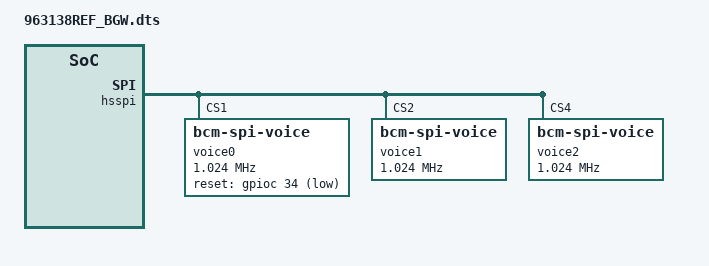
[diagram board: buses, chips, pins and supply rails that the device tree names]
#include "63138.dtsi"
#include "../bcm_voice.dtsi"

/ {
	memory_controller {
		memcfg = <(BP_DDR_SPEED_800_11_11_11   | \
			BP_DDR_TOTAL_SIZE_512MB  | \
			BP_DDR_DEVICE_WIDTH_16)>;
	};

	buttons {
		compatible = "brcm,buttons";
		reset_button {
			ext_irq = <&bca_extintr 32 BCA_GPIO_ACTIVE_LOW (BCA_EXTINTR_TYPE_LOW_LEVEL | BCA_EXTINTR_TYPE_SENSE_LEVEL)>;
			press {
				print = "Button Press -- Hold for 5s to do restore to default";
			};
			hold {
				rst_to_dflt = <5>;
			};
			release {
				reset = <0>;
			};	
		};
		ses_button {
			ext_irq = <&bca_extintr 33 BCA_GPIO_ACTIVE_LOW (BCA_EXTINTR_TYPE_LOW_LEVEL | BCA_EXTINTR_TYPE_SENSE_LEVEL)>;
			release {
				ses_short_period = <0>;
				ses_long_period = <3>;
			};
		};
	};    
};

&bcm_voice{
	sliclist = SLICSLAC_LIST_COMMON_NOFXO;
 };

&hsspi {
	status = "okay";
	voice0 {
		pinctrl-0 = <&a_spim_ss1_b_pin_127>;
		pinctrl-names = "default";
		compatible = "bcm-spi-voice";
		reg = <1>; /* chip select 1 */
		spi-max-frequency = <1024000>;
		reset-gpio = <&gpioc 34 GPIO_ACTIVE_LOW>;
		spi-index = <0>;/* voice header index */
	};
	voice1 {
		pinctrl-0 = <&spim_ss2_b_2_pin_25>;
		pinctrl-names = "default";
		compatible = "bcm-spi-voice";
		reg = <2>; /* chip select 2 */
		spi-max-frequency = <1024000>;
		/*reset-gpio = NA;*/
		spi-index = <1>;/* voice header index */
	};
	voice2 {
		pinctrl-0 = <&spim_ss4_b_pin_8>;
		pinctrl-names = "default";
		compatible = "bcm-spi-voice";
		reg = <4>; /* chip select 3 */
		spi-max-frequency = <1024000>;
		/*reset-gpio = NA;*/
		spi-index = <2>;/* voice header index */
	};
};

&vreg_sync {
		pinctrl-0 = <&vreg_clk_pin_18>;
		pinctrl-names = "default";
};

&mdio_sf2 {
	/* PHYs directly connected to SF2 */
	gphy8:8 {
		status = "okay";
	};
	gphy9:9 {
		status = "okay";
	};
	gphya:a {
		status = "okay";
	};

	/* PHYs connected to crossbar */
	gphyb:b {
		status = "okay";
	};
	gphyc:c {
		status = "okay";
	};

	/* Crossbar groups */
	xbar_grp0:0 {
		phy-handle = <&gphyb>;
		status = "okay";
	};
	xbar_grp2:2 {
		phy-handle = <&gphyc>;
		status = "okay";
	};
};

&switch_sf2 {
	ports {
		/* ports connect directly */
		sf2_port0@0 {
			phy-handle = <&gphy8>;
			network-leds = <&led0 &led1 &led28>;
			status = "okay";
		};

		sf2_port1@1 {
			phy-handle = <&gphy9>;
			network-leds = <&led2 &led3 &led11>;
			status = "okay";
		};

		sf2_port2@2 {
			phy-handle = <&gphya>;
			network-leds = <&led4 &led5 &led12>;
			status = "okay";
		};

		/* ports connected to crossbar */
		sf2_port3@3 {
			phy-handle = <&xbar_grp0>;
			network-leds = <&led6 &led7 &led13>;
			status = "okay";
		};
	};
};

&switch0 {
	ports {
		
		port0@0 {
			phy-handle = <&xbar_grp2>;
			phy-mode = "gmii";
			network-leds = <&led20 &led21 &led22>;
			status = "okay";
		};
	};
};

&legacy_leds {
	adsl-led = <&led17>;
	adsl-fail-led = <&led16>;
	sec-adsl-led = <&led27>;
	wan-data-led = <&led15>;
	wl-sess-led = <&led24>;
	voip1-ok-led = <&led29>;
	voip2-ok-led = <&led30>;
};

&led_ctrl {
    led0: port_0-led_0-pin_0 {
        active_low;
        link = <(LED_SPEED_1G)>;
        status = "okay";
    };
    led1: port_0-led_1-pin_1 {
        active_low;
        link = <(LED_SPEED_100)>;
        status = "okay";
    };
    led2: port_1-led_0-pin_2 {
        active_low;
        link = <(LED_SPEED_1G)>;
        status = "okay";
    };
    led3: port_1-led_1-pin_3 {
        active_low;
        link = <(LED_SPEED_100)>;
        status = "okay";
    };
    led4: port_2-led_0-pin_4 {
        active_low;
        link = <(LED_SPEED_1G)>;
        status = "okay";
    };
    led5: port_2-led_1-pin_5 {
        active_low;
        link = <(LED_SPEED_100)>;
        status = "okay";
    };
    led6: port_3-led_0-pin_6 {
        active_low;
        link = <(LED_SPEED_1G)>;
        status = "okay";
    };
    led7: port_3-led_1-pin_7 {
        active_low;
        link = <(LED_SPEED_100)>;
        status = "okay";
    };
    led11: port_1-led_2-pin_11 {
        active_low;
        activity = <(LED_SPEED_100|LED_SPEED_1G)>;
        link = <(LED_SPEED_100|LED_SPEED_1G)>;
        status = "okay";
    };
    led12: port_2-led_2-pin_12 {
        active_low;
        activity = <(LED_SPEED_100|LED_SPEED_1G)>;
        link = <(LED_SPEED_100|LED_SPEED_1G)>;
        status = "okay";
    };
    led13: port_3-led_2-pin_13 {
        active_low;
        activity = <(LED_SPEED_100|LED_SPEED_1G)>;
        link = <(LED_SPEED_100|LED_SPEED_1G)>;
        status = "okay";
    };
    led15: wan_0-data-pin_15 {
        active_low;
        status = "okay";
    };
    led16: sw_led_16-pin_16 {
        active_low;
        status = "okay";
    };
    led17: sw_led_17-pin_17 {
        active_low;
        status = "okay";
    };
    led20: rnr_port_0-led_0-pin_20 {
        active_low;
        link = <(LED_SPEED_1G)>;
        status = "okay";
    };
    led21: rnr_port_0-led_1-pin_21 {
        active_low;
        link = <(LED_SPEED_100)>;
        status = "okay";
    };
    led22: rnr_port_0-led_2-pin_22 {
        active_low;
        link = <(LED_SPEED_100|LED_SPEED_1G)>;
        activity = <(LED_SPEED_100|LED_SPEED_1G)>;
        status = "okay";
    };
    led24: sw_led_24-pin_24 {
        active_low;
        status = "okay";
    };
    led26: sw_led_26-pin_26 {
        active_low;
        status = "okay";
    };
    led27: sw_led_27-pin_27 {
        active_low;
        status = "okay";
    };
    led28: port_0-led_2-pin_28 {
        active_low;
        activity = <(LED_SPEED_100|LED_SPEED_1G)>;
        link = <(LED_SPEED_100|LED_SPEED_1G)>;
        status = "okay";
    };
    led29: sw_led_29-pin_29 {
        active_low;
        status = "okay";
    };
    led30: sw_led_30-pin_30 {
        active_low;
        status = "okay";
    };
};
